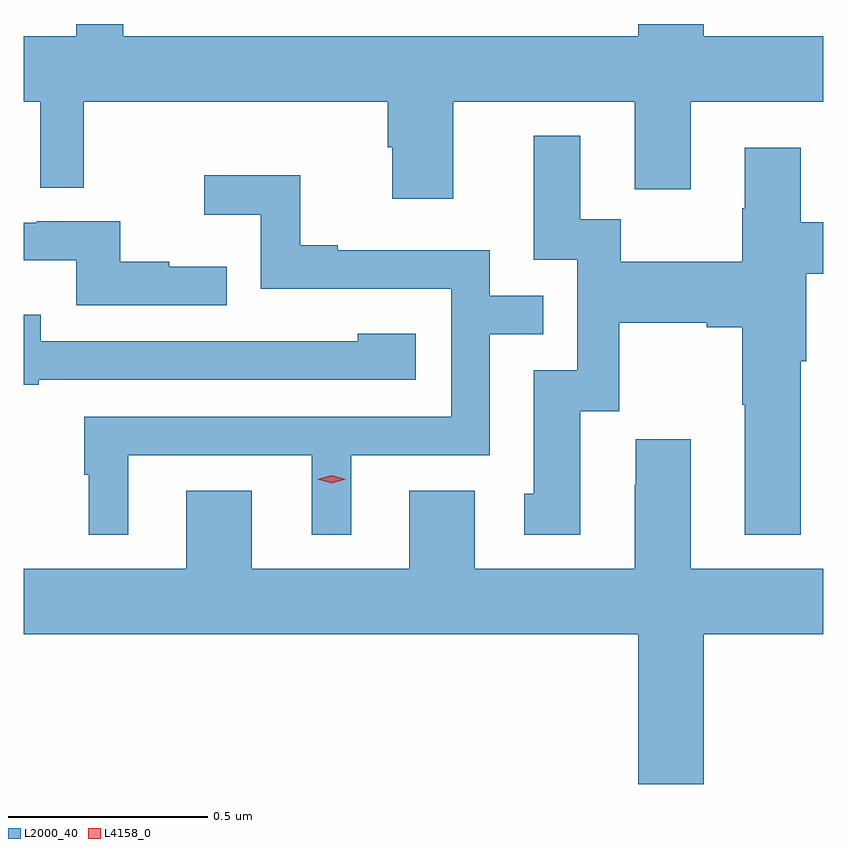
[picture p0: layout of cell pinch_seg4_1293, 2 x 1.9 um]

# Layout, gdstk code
import gdstk
lib = gdstk.Library(unit=1e-6, precision=1e-09)
def P(c, l, *ps):  # polygons
    for p in ps: c.add(gdstk.Polygon(p, *l))
L2000_40 = (2000, 40)
L4158_0 = (4158, 0)

pinch_seg4_1293 = lib.new_cell('pinch_seg4_1293')
P(pinch_seg4_1293, L2000_40, [(247.636,771.707),(247.519,771.707),(247.519,771.676),(247.387,771.676),(247.387,771.512),(247.428,771.512),(247.428,771.298),(247.537,771.298),(247.537,771.512),(248.297,771.512),(248.297,771.399),(248.309,771.399),(248.309,771.27),(248.461,771.27),(248.461,771.512),(248.915,771.512),(248.915,771.294),(249.055,771.294),(249.055,771.512),(249.387,771.512),(249.387,771.676),(249.088,771.676),(249.088,771.707),(248.924,771.707),(248.924,771.676),(247.636,771.676)],
  [(249.331,770.864),(249.344,770.864),(249.344,771.082),(249.387,771.082),(249.387,771.211),(249.331,771.211),(249.331,771.397),(249.191,771.397),(249.191,771.246),(249.184,771.246),(249.184,771.112),(248.881,771.112),(248.881,771.218),(248.779,771.218),(248.779,771.427),(248.663,771.427),(248.663,771.117),(248.772,771.117),(248.772,770.841),(248.663,770.841),(248.663,770.532),(248.639,770.532),(248.639,770.43),(248.779,770.43),(248.779,770.738),(248.877,770.738),(248.877,770.96),(249.095,770.96),(249.095,770.948),(249.184,770.948),(249.184,770.755),(249.191,770.755),(249.191,770.429),(249.331,770.429)],
  [(247.648,770.628),(248.108,770.628),(248.108,770.429),(248.206,770.429),(248.206,770.628),(248.553,770.628),(248.553,770.931),(248.687,770.931),(248.687,771.027),(248.553,771.027),(248.553,771.141),(248.173,771.141),(248.173,771.154),(248.079,771.154),(248.079,771.329),(247.839,771.329),(247.839,771.23),(247.98,771.23),(247.98,771.045),(248.457,771.045),(248.457,770.724),(247.539,770.724),(247.539,770.58),(247.55,770.58),(247.55,770.429),(247.648,770.429)],
  [(247.895,771.1),(247.751,771.1),(247.751,771.112),(247.628,771.112),(247.628,771.213),(247.42,771.213),(247.42,771.21),(247.387,771.21),(247.387,771.116),(247.518,771.116),(247.518,771.003),(247.895,771.003)],
  [(247.425,770.817),(248.368,770.817),(248.368,770.932),(248.223,770.932),(248.223,770.914),(247.987,770.914),(247.987,770.913),(247.429,770.913),(247.429,770.98),(247.387,770.98),(247.387,770.805),(247.425,770.805)],
  [(249.088,770.18),(249.387,770.18),(249.387,770.344),(249.055,770.344),(249.055,770.668),(248.918,770.668),(248.918,770.555),(248.915,770.555),(248.915,770.344),(248.515,770.344),(248.515,770.539),(248.351,770.539),(248.351,770.344),(247.957,770.344),(247.957,770.539),(247.793,770.539),(247.793,770.344),(247.387,770.344),(247.387,770.18),(248.924,770.18),(248.924,769.806),(249.088,769.806)])
P(pinch_seg4_1293, L4158_0, [(248.157,770.558),(248.121,770.568),(248.121,770.568),(248.121,770.568),(248.157,770.578),(248.193,770.568),(248.193,770.568),(248.193,770.568)])

lib.write_gds('pinch_seg4_1293.gds')
